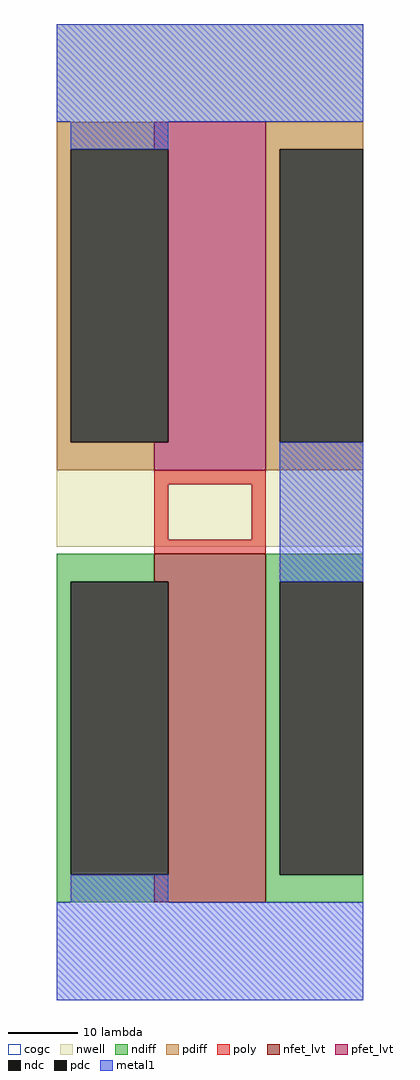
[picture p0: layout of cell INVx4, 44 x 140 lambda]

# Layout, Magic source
magic
tech asap5
<< nwell >>
rect 0 65 44 140
<< poly >>
rect 14 74 30 76
rect 14 66 16 74
rect 28 66 30 74
rect 14 64 30 66
<< ndiff >>
rect 0 60 14 64
rect 30 60 44 64
rect 0 18 2 60
rect 30 18 32 60
rect 0 14 14 18
rect 30 14 44 18
<< pdiff >>
rect 0 122 14 126
rect 30 122 44 126
rect 0 80 2 122
rect 30 80 32 122
rect 0 76 14 80
rect 30 76 44 80
<< nfet_lvt >>
rect 14 60 30 64
rect 16 18 30 60
rect 14 14 30 18
<< pfet_lvt >>
rect 14 122 30 126
rect 16 80 30 122
rect 14 76 30 80
<< metal1 >>
rect 0 126 44 140
rect 2 122 16 126
rect 32 60 44 80
rect 2 14 16 18
rect 0 0 44 14
<< cogc >>
rect 16 66 28 74
<< ndc >>
rect 2 18 16 60
rect 32 18 44 60
<< pdc >>
rect 2 80 16 122
rect 32 80 44 122
<< end >>
